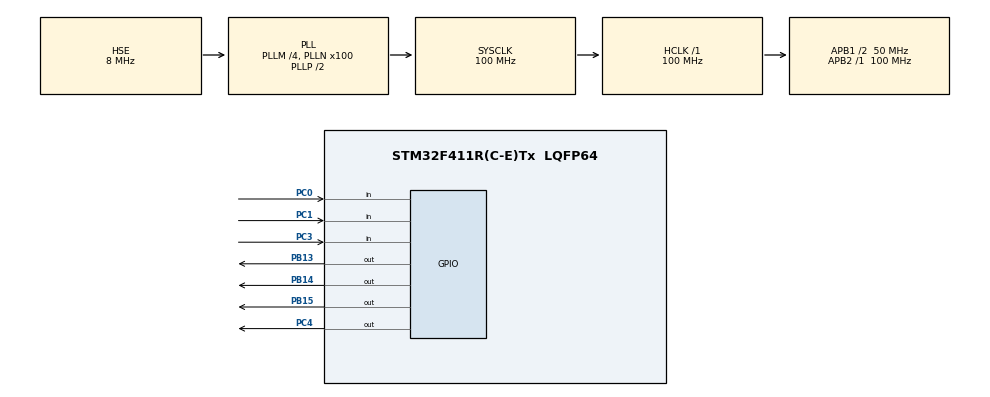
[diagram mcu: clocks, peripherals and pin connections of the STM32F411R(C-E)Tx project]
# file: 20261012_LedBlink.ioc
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Mcu.Family=STM32F4
Mcu.Name=STM32F411R(C-E)Tx
Mcu.Package=LQFP64
NVIC.PriorityGroup=NVIC_PRIORITYGROUP_4
PB13.Signal=GPIO_Output
PB14.Signal=GPIO_Output
PB15.Signal=GPIO_Output
PC0.Signal=GPIO_Input
PC1.Signal=GPIO_Input
PC3.Signal=GPIO_Input
PC4.Signal=GPIO_Output
PH0\ -\ OSC_IN.Mode=HSE-External-Oscillator
PH0\ -\ OSC_IN.Signal=RCC_OSC_IN
PH1\ -\ OSC_OUT.Mode=HSE-External-Oscillator
PH1\ -\ OSC_OUT.Signal=RCC_OSC_OUT
ProjectManager.HeapSize=0x200
ProjectManager.StackSize=0x400
ProjectManager.TargetToolchain=STM32CubeIDE
RCC.48MHZClocksFreq_Value=50000000
RCC.AHBFreq_Value=100000000
RCC.APB1CLKDivider=RCC_HCLK_DIV2
RCC.APB1Freq_Value=50000000
RCC.APB1TimFreq_Value=100000000
RCC.APB2Freq_Value=100000000
RCC.APB2TimFreq_Value=100000000
RCC.CortexFreq_Value=100000000
RCC.HCLKFreq_Value=100000000
RCC.HSE_VALUE=8000000
RCC.HSI_VALUE=16000000
RCC.LSE_VALUE=32768
RCC.PLLM=4
RCC.PLLN=100
RCC.PLLSourceVirtual=RCC_PLLSOURCE_HSE
RCC.SYSCLKFreq_VALUE=100000000
RCC.SYSCLKSource=RCC_SYSCLKSOURCE_PLLCLK
RCC.VCOOutputFreq_Value=200000000
board=custom

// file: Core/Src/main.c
/* USER CODE BEGIN Header */
/**
 ******************************************************************************
 * @file           : main.c
 * @brief          : Main program body
 ******************************************************************************
 * @attention
 *
 * Copyright (c) 2026 STMicroelectronics.
 * All rights reserved.
 *
 * This software is licensed under terms that can be found in the LICENSE file
 * in the root directory of this software component.
 * If no LICENSE file comes with this software, it is provided AS-IS.
 *
 ******************************************************************************
 */
/* USER CODE END Header */
#include "main.h"

void SystemClock_Config(void);
static void MX_GPIO_Init(void);

/* USER CODE BEGIN 0 */

/* LED 4개를 한 번에 켜고 끄는 함수 */
void LED_All(GPIO_PinState state)
{
	HAL_GPIO_WritePin(GPIOB, GPIO_PIN_13 | GPIO_PIN_14 | GPIO_PIN_15, state);
	HAL_GPIO_WritePin(GPIOC, GPIO_PIN_4, state);
}

/* LED 4개를 한 번에 토글하는 함수 */
void LED_Toggle(void)
{
	HAL_GPIO_TogglePin(GPIOB, GPIO_PIN_13 | GPIO_PIN_14 | GPIO_PIN_15);
	HAL_GPIO_TogglePin(GPIOC, GPIO_PIN_4);
}

/* USER CODE END 0 */

int main(void)
{

  /* MCU Configuration--------------------------------------------------------*/

  /* Reset of all peripherals, Initializes the Flash interface and the Systick. */
  HAL_Init();

  /* Configure the system clock */
  SystemClock_Config();

  /* Initialize all configured peripherals */
  MX_GPIO_Init();

  /* Infinite loop */
  /* USER CODE BEGIN WHILE */
	while (1)
	   {
	      if (HAL_GPIO_ReadPin(GPIOC, GPIO_PIN_0) == 0) {
	         HAL_GPIO_WritePin(GPIOB, GPIO_PIN_15, GPIO_PIN_SET);
	         HAL_GPIO_WritePin(GPIOB, GPIO_PIN_14, GPIO_PIN_SET);
	         HAL_GPIO_WritePin(GPIOB, GPIO_PIN_13, GPIO_PIN_SET);
	         HAL_GPIO_WritePin(GPIOC, GPIO_PIN_4, GPIO_PIN_SET);
	      }
	      if (HAL_GPIO_ReadPin(GPIOC, GPIO_PIN_1) == 0) {
	         HAL_GPIO_WritePin(GPIOB, GPIO_PIN_15, GPIO_PIN_RESET);
	         HAL_GPIO_WritePin(GPIOB, GPIO_PIN_14, GPIO_PIN_RESET);
	         HAL_GPIO_WritePin(GPIOB, GPIO_PIN_13, GPIO_PIN_RESET);
	         HAL_GPIO_WritePin(GPIOC, GPIO_PIN_4, GPIO_PIN_RESET);
	      }
	      if (HAL_GPIO_ReadPin(GPIOC, GPIO_PIN_3) == 0) {
	         while(1) {
	            HAL_GPIO_TogglePin(GPIOB, GPIO_PIN_15);
	            HAL_GPIO_TogglePin(GPIOB, GPIO_PIN_14);
	            HAL_GPIO_TogglePin(GPIOB, GPIO_PIN_13);
	            HAL_GPIO_TogglePin(GPIOC, GPIO_PIN_4);
	            HAL_Delay(200);
	            if ((HAL_GPIO_ReadPin(GPIOC, GPIO_PIN_0)==0) |
	                  (HAL_GPIO_ReadPin(GPIOC, GPIO_PIN_1)==0)) {
	               break;
	            }
	         }
	      }

    /* USER CODE END WHILE */

	}
}

void SystemClock_Config(void)
{
  RCC_OscInitTypeDef RCC_OscInitStruct = {0};
  RCC_ClkInitTypeDef RCC_ClkInitStruct = {0};

  /** Configure the main internal regulator output voltage
  */
  __HAL_RCC_PWR_CLK_ENABLE();
  __HAL_PWR_VOLTAGESCALING_CONFIG(PWR_REGULATOR_VOLTAGE_SCALE1);

  /** Initializes the RCC Oscillators according to the specified parameters
  * in the RCC_OscInitTypeDef structure.
  */
  RCC_OscInitStruct.OscillatorType = RCC_OSCILLATORTYPE_HSE;
  RCC_OscInitStruct.HSEState = RCC_HSE_ON;
  RCC_OscInitStruct.PLL.PLLState = RCC_PLL_ON;
  RCC_OscInitStruct.PLL.PLLSource = RCC_PLLSOURCE_HSE;
  RCC_OscInitStruct.PLL.PLLM = 4;
  RCC_OscInitStruct.PLL.PLLN = 100;
  RCC_OscInitStruct.PLL.PLLP = RCC_PLLP_DIV2;
  RCC_OscInitStruct.PLL.PLLQ = 4;
  if (HAL_RCC_OscConfig(&RCC_OscInitStruct) != HAL_OK)
  {
    Error_Handler();
  }

  /** Initializes the CPU, AHB and APB buses clocks
  */
  RCC_ClkInitStruct.ClockType = RCC_CLOCKTYPE_HCLK|RCC_CLOCKTYPE_SYSCLK
                              |RCC_CLOCKTYPE_PCLK1|RCC_CLOCKTYPE_PCLK2;
  RCC_ClkInitStruct.SYSCLKSource = RCC_SYSCLKSOURCE_PLLCLK;
  RCC_ClkInitStruct.AHBCLKDivider = RCC_SYSCLK_DIV1;
  RCC_ClkInitStruct.APB1CLKDivider = RCC_HCLK_DIV2;
  RCC_ClkInitStruct.APB2CLKDivider = RCC_HCLK_DIV1;

  if (HAL_RCC_ClockConfig(&RCC_ClkInitStruct, FLASH_LATENCY_3) != HAL_OK)
  {
    Error_Handler();
  }
}

static void MX_GPIO_Init(void)
{
  GPIO_InitTypeDef GPIO_InitStruct = {0};

  /* GPIO Ports Clock Enable */
  __HAL_RCC_GPIOH_CLK_ENABLE();
  __HAL_RCC_GPIOC_CLK_ENABLE();
  __HAL_RCC_GPIOB_CLK_ENABLE();

  /*Configure GPIO pin Output Level */
  HAL_GPIO_WritePin(GPIOC, GPIO_PIN_4, GPIO_PIN_RESET);

  /*Configure GPIO pin Output Level */
  HAL_GPIO_WritePin(GPIOB, GPIO_PIN_13|GPIO_PIN_14|GPIO_PIN_15, GPIO_PIN_RESET);

  /*Configure GPIO pins : PC0 PC1 PC3 */
  GPIO_InitStruct.Pin = GPIO_PIN_0|GPIO_PIN_1|GPIO_PIN_3;
  GPIO_InitStruct.Mode = GPIO_MODE_INPUT;
  GPIO_InitStruct.Pull = GPIO_NOPULL;
  HAL_GPIO_Init(GPIOC, &GPIO_InitStruct);

  /*Configure GPIO pin : PC4 */
  GPIO_InitStruct.Pin = GPIO_PIN_4;
  GPIO_InitStruct.Mode = GPIO_MODE_OUTPUT_PP;
  GPIO_InitStruct.Pull = GPIO_NOPULL;
  GPIO_InitStruct.Speed = GPIO_SPEED_FREQ_LOW;
  HAL_GPIO_Init(GPIOC, &GPIO_InitStruct);

  /*Configure GPIO pins : PB13 PB14 PB15 */
  GPIO_InitStruct.Pin = GPIO_PIN_13|GPIO_PIN_14|GPIO_PIN_15;
  GPIO_InitStruct.Mode = GPIO_MODE_OUTPUT_PP;
  GPIO_InitStruct.Pull = GPIO_NOPULL;
  GPIO_InitStruct.Speed = GPIO_SPEED_FREQ_LOW;
  HAL_GPIO_Init(GPIOB, &GPIO_InitStruct);

}

void Error_Handler(void)
{
	__disable_irq();
	while (1)
	{
	}
}
